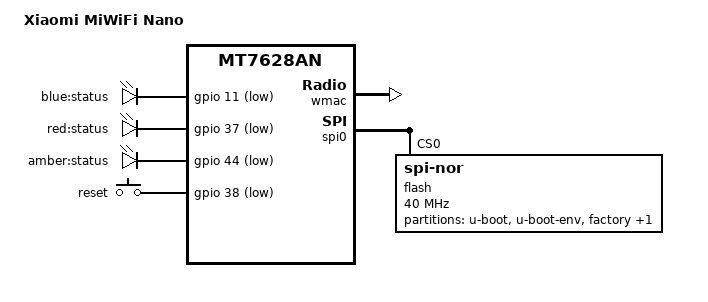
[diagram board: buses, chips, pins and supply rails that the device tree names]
#include "mt7628an.dtsi"

#include <dt-bindings/gpio/gpio.h>
#include <dt-bindings/input/input.h>

/ {
	compatible = "xiaomi,miwifi-nano", "mediatek,mt7628an-soc";
	model = "Xiaomi MiWiFi Nano";

	aliases {
		led-boot = &led_status_amber;
		led-failsafe = &led_status_red;
		led-running = &led_status_blue;
		led-upgrade = &led_status_amber;
		label-mac-device = &ethernet;
	};

	chosen {
		bootargs = "console=ttyS0,115200";
	};

	leds {
		compatible = "gpio-leds";

		led_status_blue: status_blue {
			label = "blue:status";
			gpios = <&gpio 11 GPIO_ACTIVE_LOW>;
		};

		led_status_red: status_red {
			label = "red:status";
			gpios = <&gpio 37 GPIO_ACTIVE_LOW>;
		};

		led_status_amber: status_amber {
			label = "amber:status";
			gpios = <&gpio 44 GPIO_ACTIVE_LOW>;
		};
	};

	keys {
		compatible = "gpio-keys";

		reset {
			label = "reset";
			gpios = <&gpio 38 GPIO_ACTIVE_LOW>;
			linux,code = <KEY_RESTART>;
		};
	};
};

&state_default {
	gpio {
		groups = "gpio", "refclk", "wdt", "wled_an";
		function = "gpio";
	};
};

&ehci {
	status = "disabled";
};

&ohci {
	status = "disabled";
};

&esw {
	mediatek,portmap = <0x2f>;
	mediatek,portdisable = <0x2a>;
};

&wmac {
	status = "okay";

	mediatek,mtd-eeprom = <&factory 0x0>;
};

&ethernet {
	nvmem-cells = <&macaddr_factory_28>;
	nvmem-cell-names = "mac-address";
};

&spi0 {
	status = "okay";

	flash@0 {
		compatible = "jedec,spi-nor";
		reg = <0>;
		spi-max-frequency = <40000000>;

		partitions {
			compatible = "fixed-partitions";
			#address-cells = <1>;
			#size-cells = <1>;

			partition@0 {
				label = "u-boot";
				reg = <0x0 0x30000>;
				read-only;
			};

			partition@30000 {
				label = "u-boot-env";
				reg = <0x30000 0x10000>;
			};

			factory: partition@40000 {
				label = "factory";
				reg = <0x40000 0x10000>;
				read-only;
			};

			partition@50000 {
				compatible = "denx,uimage";
				label = "firmware";
				reg = <0x50000 0xfb0000>;
			};
		};
	};
};

&factory {
	compatible = "nvmem-cells";
	#address-cells = <1>;
	#size-cells = <1>;

	macaddr_factory_28: macaddr@28 {
		reg = <0x28 0x6>;
	};
};
